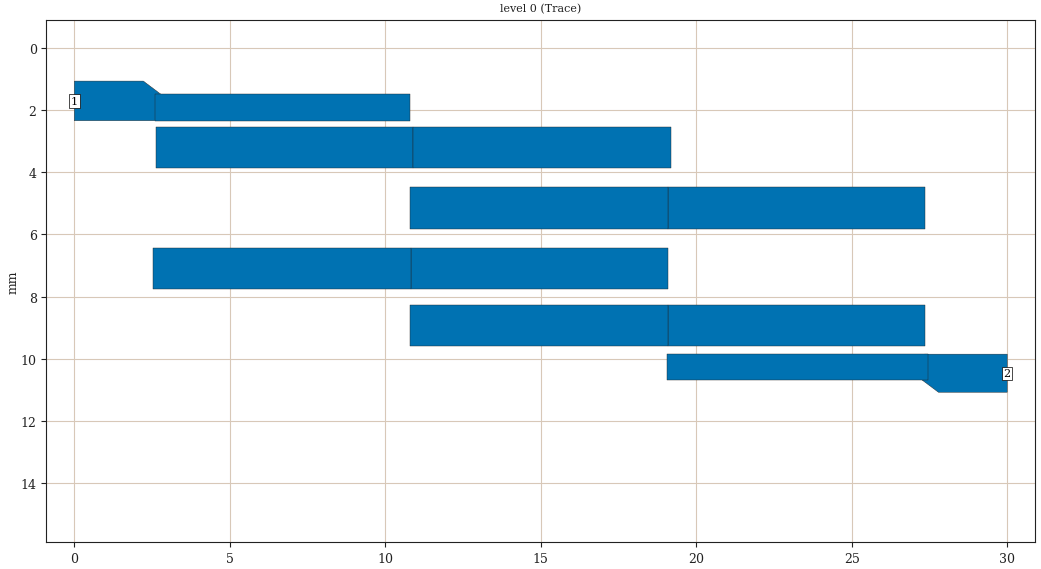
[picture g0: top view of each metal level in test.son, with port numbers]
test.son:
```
FTYP SONPROJ 19 ! Sonnet Project File
VER 18.53
HEADER
LIC SL64e88c52
DAT 09/17/2023 10:55:32
BUILT_BY_CREATED example 18.53 10/19/2021 01:59:07
BUILT_BY_SAVED sonnet 18.53-Lite
MDATE 09/17/2023 10:55:32
HDATE 09/17/2023 10:55:32
END HEADER
DIM
ANG DEG
CAP PF
CON /OH
FREQ GHZ
IND NH
LNG MM
RES OH
END DIM
CONTROL
VARSWP
OPTIONS  -dj
SPEED 0
CACHE_ABS 2
Q_ACC N
END CONTROL
GEO
TMET "Cover" 1 NOR 40900000 0.5 0.00254 
BMET "Cover" 1 NOR 40900000 0.5 0.00254 
MET "Gold_trace" 2 NOR 40900000 0.5 0.00254 
MET "Gold_Via" 1 VOL 40900000 0.00254
BOX 1 30 15 1200 588 20 0
      3.81 1 1 0 0 0 0 "Air"
      0.508 3.48 1 0.0029 0 0 0 "Rogers RO4003C"
TECHLAY METAL Trace <UNSPECIFIED> -2 -65534 
0 0 0 N 550 1 1 100 100 0 0 0 Y
END
END
TECHLAY VIA Via_Gnd <UNSPECIFIED> -3 -65534 
VIA POLYGON
1 0 1 N 706 1 1 100 100 0 0 0 Y
TOLEVEL 0 RING COVERS
END
END
VALVAR L1 LNG 8.3876712328767 "Dim. Param."
VALVAR L2 LNG "7.95*SCALE" "Dim. Param."
VALVAR W2 LNG 1.3265302315745 "Dim. Param."
VALVAR L1_1 NONE 8.1435045706955 ""
VALVAR SCALE NONE "7.5/7.2" ""
VALVAR L1_2 LNG 8.5796689140729 "Dim. Param. L1_2"
VALVAR W2_3 LNG 1.3302804220739 "Dim. Param. W2_3"
VALVAR W2_4 LNG 1.3203815404723 "Dim. Param. W2_4"
DIM STD YDIR -1
POS 0.8243394633 -1.723114553
NOM 0.8656911681
REF1 POLY 433 1
2
REF2 POLY 433 1
1
END
DIM STD YDIR -1
POS -8.745461188 -0.7159852497
NOM 0.204038262
REF1 POLY 512 1
0
REF2 POLY 433 1
2
END
DIM STD XDIR 1
POS 8.519250304 -5.536763315
NOM 16.5625
REF1 POLY 528 1
0
REF2 POLY 527 1
1
END
DIM STD XDIR -1
POS -4.257819094 -3.376114558
NOM 8.187104042
REF1 POLY 433 1
2
REF2 POLY 442 1
0
END
DIM STD YDIR 1
POS -1.401186452 1.15014628
NOM 0.6121154331
REF1 POLY 528 1
2
REF2 POLY 534 1
0
END
DIM STD YDIR 1
POS -1.566077786 2.702859774
NOM 1.330280422
REF1 POLY 442 1
0
REF2 POLY 442 1
3
END
DIM STD XDIR 1
POS 8.519250304 -5.536763315
NOM 16.5625
REF1 POLY 712 1
0
REF2 POLY 711 1
1
END
LORGN 0 15 U 
POR1 BOX
POLY 15 1
3
1 50 0 0 0 0 1.709446569 
POR1 BOX
POLY 17 1
3
2 50 0 0 0 30 10.46655735 
NUM 12
0 7 0 N 15 1 1 100 100 0 0 0 Y
TLAYNAM Trace INH
3.21050739 1.99243004
3.21050739 1.816551101
2.218232358 1.072344828
0 1.072344828
0 2.346548311
2.738349697 2.346548311
3.21050739 1.99243004
END
0 7 0 N 17 1 1 100 100 0 0 0 Y
TLAYNAM Trace INH
26.91505355 10.4243753
26.91505355 10.17590501
27.34454171 9.853788881
30 9.853788881
30 11.07932583
27.78832091 11.07932583
26.91505355 10.4243753
END
0 5 0 N 433 1 1 100 100 0 0 0 Y
TLAYNAM Trace INH
2.6 1.480857143
10.79790127 1.480857143
10.79790127 2.346548311
2.6 2.346548311
2.6 1.480857143
END
0 5 0 N 442 1 1 100 100 0 0 0 Y
TLAYNAM Trace INH
2.61079723 2.550586573
10.89204723 2.550586573
10.89204723 3.880866995
2.61079723 3.880866995
2.61079723 2.550586573
END
0 5 0 N 512 1 1 100 100 0 0 0 Y
TLAYNAM Trace INH
10.89204723 2.550586573
19.17329723 2.550586573
19.17329723 3.877116805
10.89204723 3.877116805
10.89204723 2.550586573
END
0 5 0 N 527 1 1 100 100 0 0 0 Y
TLAYNAM Trace INH
19.08214094 4.489318241
27.36339094 4.489318241
27.36339094 5.815848473
19.08214094 5.815848473
19.08214094 4.489318241
END
0 5 0 N 528 1 1 100 100 0 0 0 Y
TLAYNAM Trace INH
10.80089094 4.489318241
19.08214094 4.489318241
19.08214094 5.815848473
10.80089094 5.815848473
10.80089094 4.489318241
END
0 5 0 N 533 1 1 100 100 0 0 0 Y
TLAYNAM Trace INH
10.8231048 6.434112597
19.1043548 6.434112597
19.1043548 7.754494137
10.8231048 7.754494137
10.8231048 6.434112597
END
0 5 0 N 534 1 1 100 100 0 0 0 Y
TLAYNAM Trace INH
2.5418548 6.427963906
10.8231048 6.427963906
10.8231048 7.754494137
2.5418548 7.754494137
2.5418548 6.427963906
END
0 5 0 N 539 1 1 100 100 0 0 0 Y
TLAYNAM Trace INH
19.05687048 9.853788881
27.44454171 9.853788881
27.44454171 10.67081351
19.05687048 10.67081351
19.05687048 9.853788881
END
0 5 0 N 711 1 1 100 100 0 0 0 Y
TLAYNAM Trace INH
19.08214094 8.264828445
27.36339094 8.264828445
27.36339094 9.591358677
19.08214094 9.591358677
19.08214094 8.264828445
END
0 5 0 N 712 1 1 100 100 0 0 0 Y
TLAYNAM Trace INH
10.80089094 8.264828445
19.08214094 8.264828445
19.08214094 9.591358677
10.80089094 9.591358677
10.80089094 8.264828445
END
END GEO
OPT
MAX 100
END OPT
VARSWP
ENABLED Y
FREQ Y AY ABS_ENTRY 4.8 6.0 -1 300 
FREQ N AY ABS_ENTRY 4.0 8.0 -1 300 
FREQ N AN STEP 5.32
VAR W2 N 1.32653023 1.32653023 UNDEF
VAR W2 N 1.1806216 1.1806216 UNDEF
VAR W2 N 1.38134446 1.38134446 UNDEF
VAR SCALE N 1.02739726 1.02739726 UNDEF
VAR L1_2 N 8.14350457 8.14350457 UNDEF
VAR L1 N 8.38767123 8.38767123 UNDEF
VAR W2_3 N 0.97283215 0.97283215 UNDEF
VAR W2_4 N 1.0139973 1.0139973 UNDEF
END
END VARSWP
3DOPTIONS
GLOBAL 1
ALL 2 1
END 3DOPTIONS
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```
